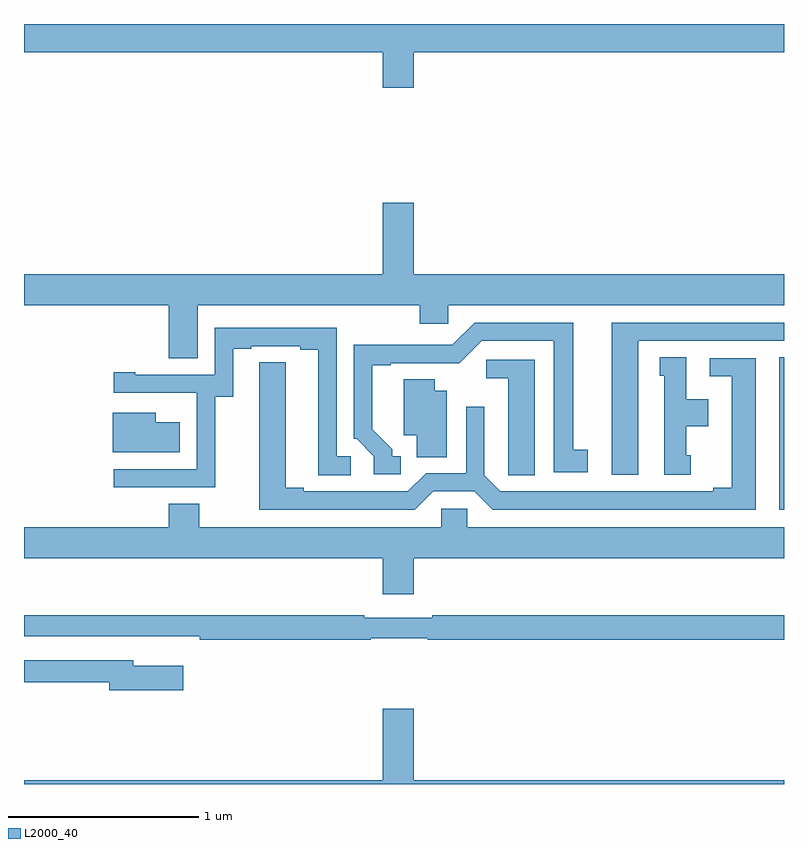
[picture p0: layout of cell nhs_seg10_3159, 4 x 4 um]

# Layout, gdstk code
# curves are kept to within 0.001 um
import gdstk
lib = gdstk.Library(unit=1e-6, precision=1e-09)
def R(c, l, rs):  # rectangles x0, y0, x1, y1
    for r in rs: c.add(gdstk.rectangle(r[:2], r[2:], *l))
def P(c, l, *ps):  # polygons
    for p in ps: c.add(gdstk.Polygon(p, *l))
L2000_40 = (2000, 40)

nhs_seg10_3159 = lib.new_cell('nhs_seg10_3159')
R(nhs_seg10_3159, L2000_40, [(286.976,1261.944,287,1262.747)])
P(nhs_seg10_3159, L2000_40, [(285.052,1264.352),(287,1264.352),(287,1264.5),(283,1264.5),(283,1264.352),(284.888,1264.352),(284.888,1264.164),(285.052,1264.164)],
  [(283.915,1263.02),(285.083,1263.02),(285.083,1262.922),(285.234,1262.922),(285.234,1263.02),(287,1263.02),(287,1263.184),(285.052,1263.184),(285.052,1263.559),(284.888,1263.559),(284.888,1263.184),(283,1263.184),(283,1263.02),(283.763,1263.02),(283.763,1262.74),(283.915,1262.74)],
  [(286.234,1262.832),(287,1262.832),(287,1262.928),(286.094,1262.928),(286.094,1262.127),(286.234,1262.127)],
  [(284.983,1262.226),(284.938,1262.226),(284.938,1262.261),(284.833,1262.366),(284.833,1262.703),(284.929,1262.703),(284.929,1262.715),(285.29,1262.714),(285.408,1262.832),(285.788,1262.832),(285.788,1262.142),(285.967,1262.142),(285.967,1262.258),(285.892,1262.258),(285.892,1262.928),(285.372,1262.928),(285.255,1262.811),(284.999,1262.811),(284.999,1262.813),(284.736,1262.813),(284.736,1262.316),(284.751,1262.316),(284.841,1262.226),(284.841,1262.13),(284.983,1262.13)],
  [(284.007,1262.539),(284.101,1262.539),(284.101,1262.79),(284.197,1262.79),(284.197,1262.805),(284.453,1262.805),(284.453,1262.785),(284.549,1262.785),(284.549,1262.125),(284.719,1262.125),(284.719,1262.226),(284.646,1262.226),(284.646,1262.901),(284.004,1262.901),(284.004,1262.655),(283.585,1262.655),(283.585,1262.668),(283.473,1262.668),(283.473,1262.559),(283.907,1262.559),(283.907,1262.558),(283.908,1262.558),(283.908,1262.157),(283.473,1262.157),(283.473,1262.061),(284.007,1262.061)],
  [(286.51,1262.229),(286.486,1262.229),(286.486,1262.384),(286.6,1262.384),(286.6,1262.524),(286.486,1262.524),(286.486,1262.747),(286.346,1262.747),(286.346,1262.649),(286.37,1262.649),(286.37,1262.127),(286.51,1262.127)],
  [(285.153,1262.04),(285.371,1262.04),(285.467,1261.944),(286.852,1261.944),(286.852,1262.742),(286.608,1262.742),(286.608,1262.646),(286.724,1262.646),(286.724,1262.06),(286.628,1262.06),(286.628,1262.04),(285.507,1262.04),(285.423,1262.124),(285.423,1262.485),(285.327,1262.485),(285.327,1262.136),(285.117,1262.136),(285.021,1262.04),(284.473,1262.04),(284.473,1262.06),(284.377,1262.06),(284.377,1262.72),(284.238,1262.72),(284.237,1261.944),(285.057,1261.944)],
  [(285.688,1262.733),(285.432,1262.733),(285.432,1262.636),(285.548,1262.636),(285.548,1262.233),(285.549,1262.233),(285.549,1262.125),(285.688,1262.125)],
  [(285.226,1262.569),(285.163,1262.569),(285.163,1262.63),(284.999,1262.63),(284.999,1262.336),(285.068,1262.336),(285.068,1262.221),(285.226,1262.221)],
  [(283.819,1262.404),(283.693,1262.404),(283.693,1262.455),(283.466,1262.455),(283.466,1262.246),(283.819,1262.246)],
  [(285.052,1261.688),(287,1261.688),(287,1261.852),(285.333,1261.852),(285.333,1261.95),(285.195,1261.95),(285.195,1261.852),(283.923,1261.852),(283.923,1261.976),(283.763,1261.976),(283.763,1261.852),(283,1261.852),(283,1261.688),(284.888,1261.688),(284.888,1261.5),(285.052,1261.5)],
  [(284.824,1261.266),(285.124,1261.266),(285.124,1261.258),(287,1261.258),(287,1261.387),(285.148,1261.387),(285.148,1261.374),(284.792,1261.374),(284.792,1261.387),(283,1261.387),(283,1261.278),(283.672,1261.278),(283.672,1261.277),(283.924,1261.277),(283.924,1261.258),(284.824,1261.258)],
  [(283.837,1261.123),(283.576,1261.123),(283.576,1261.152),(283,1261.152),(283,1261.036),(283.448,1261.036),(283.448,1260.994),(283.837,1260.994)],
  [(287,1260.52),(285.052,1260.52),(285.052,1260.895),(284.888,1260.895),(284.888,1260.52),(283,1260.52),(283,1260.5),(287,1260.5)])

lib.write_gds('nhs_seg10_3159.gds')
